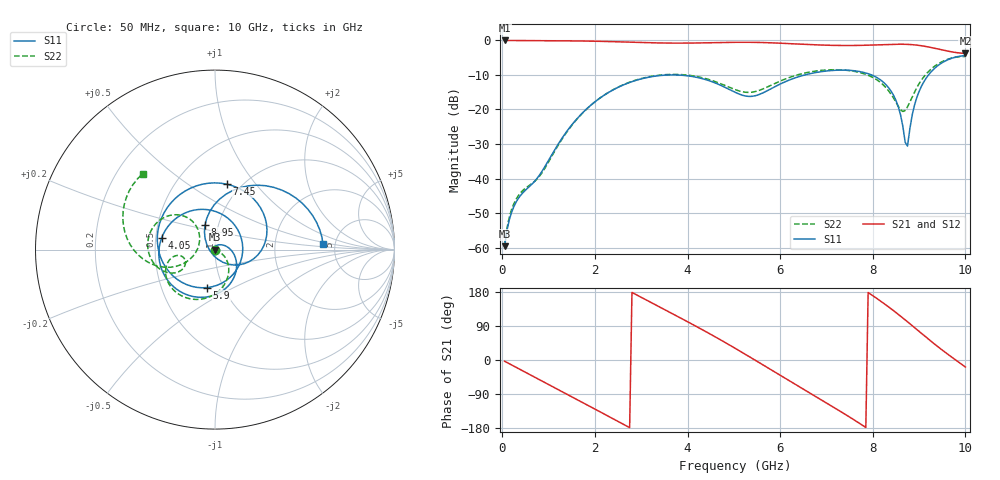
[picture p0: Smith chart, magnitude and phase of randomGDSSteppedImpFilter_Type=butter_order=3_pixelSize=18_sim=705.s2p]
! freq	dB(S11)	phase(S11)	dB(S12)	phase(S12)
!  dB(S21)	phase(S21)	dB(S22)	phase(S22)
!S-par simulation data
#  GHz  S  DB  R 50
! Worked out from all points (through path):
!   200 points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, 50 MHz to 10 GHz, reference 50 ohm
!   highest |S21| = -0.01 dB at 50 MHz (marker M1); lowest = -3.8 dB at 10 GHz (marker M2)
!   group delay of S21, straight-line fit = 200 ps
!   lowest |S11| = -59.6 dB at 50 MHz (marker M3), VSWR 1.00, Z = 50.1 - j0.09 ohm
!   |S11| at or under -10 dB: start of sweep to 3.599 GHz; 3.76 GHz to 6.531 GHz (2.771 GHz wide, 53.9 % of centre); 7.972 GHz to 9.203 GHz (1.231 GHz wide, 14.3 % of centre)
!   |S22| runs from -59.6 to -4.7 dB; largest |S21 - S12| = 0
!   S11 on the Smith chart (normalised r, x): 50 MHz: 1.00, -0.00; 4.05 GHz: 0.54, +0.08; 5.9 GHz: 0.84, -0.37; 7.45 GHz: 0.86, +0.72; 8.95 GHz: 0.86, +0.24; 10 GHz: 4.00, +0.37
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0.05  -59.60 -59.1  -0.01 -3.3  -0.01 -3.3  -59.57 -65.4
0.15  -52.04 -95.7  -0.02 -9.7  -0.02 -9.7  -51.26 -77.0
0.3  -46.77 -124.7  -0.03 -19.4  -0.03 -19.4  -45.97 -83.1
1.05  -33.53 79.4  -0.08 -67.6  -0.08 -67.6  -33.98 -34.5
1.75  -20.75 -3.2  -0.17 -113.1  -0.17 -113.1  -20.81 -42.9
2.6  -12.97 -74.8  -0.44 -168.8  -0.44 -168.8  -12.91 -82.9
3.4  -10.18 -138.1  -0.73 139.7  -0.73 139.7  -10.06 -122.2
4.05  -10.34 167.6  -0.77 97.8  -0.77 97.8  -10.13 -150.8
4.55  -12.07 118.2  -0.65 64.4  -0.65 64.4  -11.70 -167.2
5.05  -15.16 50.5  -0.54 29.3  -0.54 29.3  -14.34 -169.2
5.45  -16.06 -25.1  -0.56 0.3  -0.56 0.3  -14.85 -155.4
5.9  -13.31 -101.6  -0.74 -32.9  -0.74 -32.9  -12.39 -148.8
6.3  -10.95 -153.6  -0.99 -62.2  -0.99 -62.2  -10.28 -156.4
6.7  -9.47 160.6  -1.24 -91.4  -1.24 -91.4  -9.01 -169.4
7.45  -8.63 79.9  -1.47 -146.8  -1.47 -146.8  -8.66 161.4
7.95  -9.88 26.6  -1.35 173.9  -1.35 173.9  -10.39 140.2
8.35  -13.84 -19.0  -1.14 139.3  -1.14 139.3  -14.74 128.3
8.55  -19.18 -47.6  -1.09 120.6  -1.09 120.6  -19.07 140.3
8.75  -30.60 -169.7  -1.14 100.9  -1.14 100.9  -19.25 -171.2
8.95  -16.57 112.0  -1.36 80.6  -1.36 80.6  -13.68 -156.0
9.45  -6.87 51.7  -2.60 30.9  -2.60 30.9  -6.48 176.5
10  -4.40 2.8  -3.75 -18.5  -3.75 -18.5  -4.67 133.6
